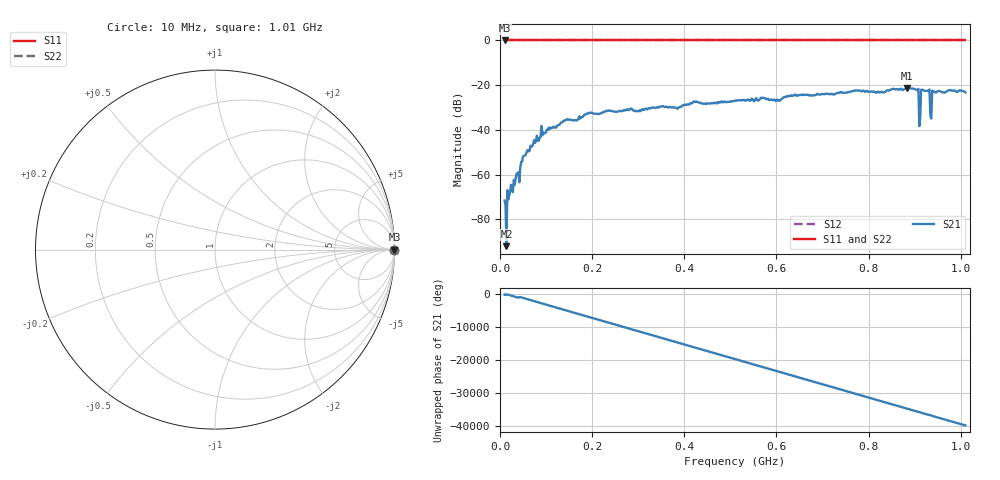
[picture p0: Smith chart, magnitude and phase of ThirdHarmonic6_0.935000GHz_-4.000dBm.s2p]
! 8/16/2025 6:26:56 AM
! C:\ANRITSUVNA\TEMP\TEMP.S2P
! CHANNEL.1
! TR.MEASUREMENT
! RAW.DATA
! RF.CORRECTION.OFF
! AVERAGING.OFF
! IF.BANDWIDTH: 5KHZ
! SWEEPTYPE:  FREQ.SWEEP(Linear)
! Reference Plane Port Info
! PORT:  PORT1  PORT2
! DISTANCE:  0  m  0  m
! TIME:  0  s  0  s
! PHASE.OFFSET:  0  deg.  0  deg.
! LOSS:  0  dB  0  dB
! REF.LOSS:  0  dB  0  dB
! REF.FREQ:  0  Hz  0  Hz
! Power Info
! POWER:  -20  dBm  -20  dBm
! EFF.POWER:  -20  dBm  -20  dBm
! SOURCE.ATTEN:  0  dB  0  dB
! TEST.ATTEN:  0  dB  0  dB
# GHZ S RI R 50.0
! FREQ.GHZ  S11RE  S11IM  S21RE  S21IM  S12RE  S12IM  S22RE  S22IM
!; PortSelection: Port_12
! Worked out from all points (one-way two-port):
!   501 points, 10 MHz to 1.01 GHz, reference 50 ohm
!   highest |S21| = -21.17 dB at 884 MHz (marker M1); lowest = -91.9 dB at 14 MHz (marker M2)
!   lowest |S11| = 0.0 dB at 10 MHz (marker M3)
!   |S11| at or under -10 dB: nowhere
!   |S22| runs from 0.0 to 0.0 dB; largest |S21 - S12| = 1.1
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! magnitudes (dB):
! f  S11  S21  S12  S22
! 10 MHz  0.0  -71.5  0.0  0.0
! 14 MHz  0.0  -91.9  0.0  0.0
! 20 MHz  0.0  -69.3  0.0  0.0
! 44 MHz  0.0  -56.8  0.0  0.0
! 50 MHz  0.0  -51.8  0.0  0.0
! 76 MHz  0.0  -45.8  0.0  0.0
! 142 MHz  0.0  -35.6  0.0  0.0
! 178 MHz  0.0  -34.2  0.0  0.0
! 344 MHz  0.0  -30.1  0.0  0.0
! 510 MHz  0.0  -27.0  0.0  0.0
! 678 MHz  0.0  -24.7  0.0  0.0
! 844 MHz  0.0  -22.4  0.0  0.0
! 884 MHz  0.0  -21.2  0.0  0.0
! 904 MHz  0.0  -22.0  0.0  0.0
! 908 MHz  0.0  -21.6  0.0  0.0
! 914 MHz  0.0  -22.1  0.0  0.0
! 918 MHz  0.0  -22.1  0.0  0.0
! 928 MHz  0.0  -22.5  0.0  0.0
! 932 MHz  0.0  -21.9  0.0  0.0
! 938 MHz  0.0  -22.4  0.0  0.0
! 942 MHz  0.0  -22.9  0.0  0.0
! 1.01 GHz  0.0  -23.2  0.0  0.0
